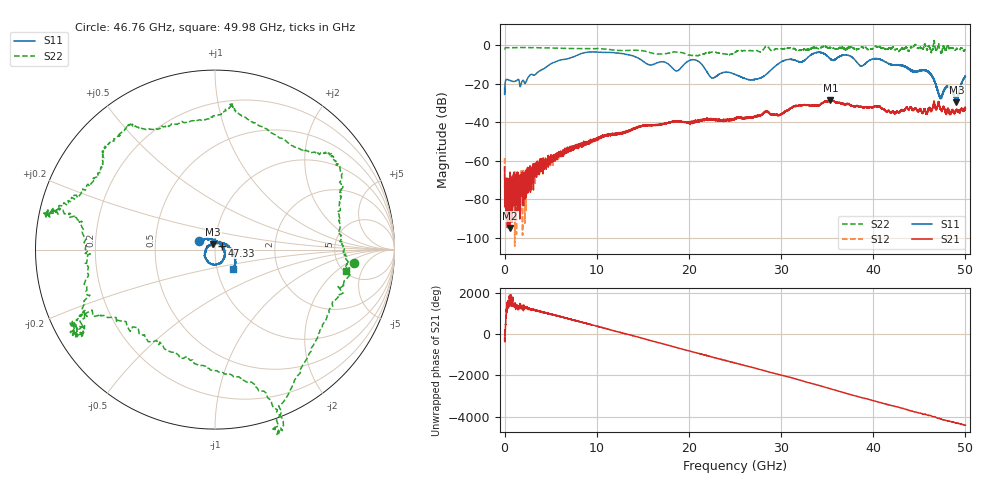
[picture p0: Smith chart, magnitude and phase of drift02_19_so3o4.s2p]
!Created with skrf (http://scikit-rf.org).
# Hz S RI R 50.0
!freq ReS11 ImS11 ReS21 ImS21 ReS12 ImS12 ReS22 ImS22
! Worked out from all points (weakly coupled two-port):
!   10001 points, 300 kHz to 50 GHz, reference 50 ohm
!   highest |S21| = -28.50 dB at 35.35 GHz (marker M1); lowest = -94.8 dB at 600.3 MHz (marker M2)
!   lowest |S11| = -29.8 dB at 49.03 GHz (marker M3), VSWR 1.07, Z = 49 + j3.04 ohm
!   |S11| at or under -10 dB: start of sweep to 4.957 GHz; 21.38 GHz to 29.63 GHz (8.254 GHz wide, 32.4 % of centre); 41.87 GHz to end of sweep (the widest 3 of 12)
!   |S22| runs from -5.7 to 2.3 dB; largest |S21 - S12| = 0.0039
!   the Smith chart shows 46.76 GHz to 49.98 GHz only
!   S11 on the Smith chart (normalised r, x): 46.76 GHz: 0.84, +0.08; 47.33 GHz: 1.08, +0.05; 49.98 GHz: 1.20, -0.26
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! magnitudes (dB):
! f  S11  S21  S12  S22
! 300 kHz  -22.5  -63.2  -58.6  -2.0
! 255.3 MHz  -17.9  -70.9  -75.2  -1.4
! 600.3 MHz  -18.5  -94.8  -74.3  -1.5
! 1.875 GHz  -19.1  -73.4  -68.0  -1.3
! 3.78 GHz  -13.5  -61.8  -63.0  -1.5
! 8.335 GHz  -4.5  -52.2  -51.4  -1.9
! 16.67 GHz  -9.1  -41.4  -41.5  -4.7
! 18.7 GHz  -13.5  -39.6  -39.5  -3.7
! 20.6 GHz  -7.7  -39.7  -39.8  -5.7
! 22.5 GHz  -17.1  -38.8  -38.4  -3.7
! 25 GHz  -15.3  -38.5  -38.0  -3.9
! 27.46 GHz  -17.6  -37.1  -36.7  -3.1
! 33.34 GHz  -4.9  -31.3  -31.3  -1.5
! 35.35 GHz  -7.2  -28.5  -28.6  -1.4
! 41.67 GHz  -9.7  -34.3  -34.2  -1.9
! 45.78 GHz  -13.4  -35.8  -35.6  -1.9
! 46.76 GHz  -20.0  -32.6  -32.5  -2.2
! 47.33 GHz  -27.2  -33.5  -33.2  -3.8
! 48.14 GHz  -21.6  -33.7  -33.4  -0.8
! 49.03 GHz  -29.8  -33.7  -34.1  -2.0
! 49.98 GHz  -16.6  -32.4  -32.9  -2.6
! 50 GHz  -16.3  -32.5  -32.8  -2.7
